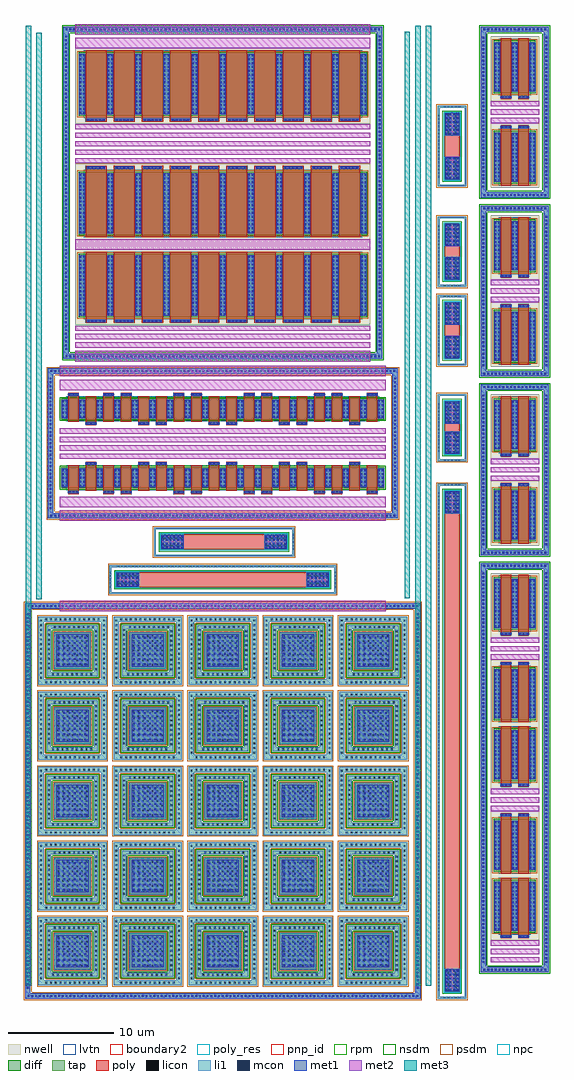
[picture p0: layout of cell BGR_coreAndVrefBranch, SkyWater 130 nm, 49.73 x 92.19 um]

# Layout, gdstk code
from math import pi, radians
import gdstk
lib = gdstk.Library(unit=1e-6, precision=5e-09)
def R(c, l, rs):  # rectangles x0, y0, x1, y1
    for r in rs: c.add(gdstk.rectangle(r[:2], r[2:], *l))
def A(c, l, x, y, w, h, nx, ny, dx, dy):  # array of equal rectangles
    R(c, l, [(x+i*dx, y+j*dy, x+i*dx+w, y+j*dy+h) for i in range(nx) for j in range(ny)])
def P(c, l, *ps):  # polygons
    for p in ps: c.add(gdstk.Polygon(p, *l))
nwell = (64, 20)
diff = (65, 20)
tap = (65, 44)
poly_res = (66, 13)
poly = (66, 20)
licon = (66, 44)
li1 = (67, 20)
mcon = (67, 44)
met1 = (68, 20)
met2 = (69, 20)
met3 = (70, 20)
pnp_id = (82, 44)
rpm = (86, 20)
nsdm = (93, 44)
psdm = (94, 20)
npc = (95, 20)
lvtn = (125, 44)
boundary2 = (236, 0)

res_poly_5 = lib.new_cell('res_poly$5')
R(res_poly_5, tap, [(-1.355,-24.31,1.355,-24.14), (-1.355,-24.14,-1.185,24.14), (1.185,-24.14,1.355,24.14), (-1.355,24.14,1.355,24.31)])
R(res_poly_5, poly_res, [(-0.705,-21.56,0.705,21.56)])
R(res_poly_5, poly, [(-0.705,-23.66,0.705,23.66)])
A(res_poly_5, licon, -0.765, -24.31, 0.17, 0.17, 5, 2, 0.34, 48.45)
A(res_poly_5, licon, -1.355, -23.545, 0.17, 0.17, 1, 139, 0, 0.34)
A(res_poly_5, licon, 1.185, -23.545, 0.17, 0.17, 1, 139, 0, 0.34)
R(res_poly_5, licon, [(-0.45,-23.58,-0.26,-21.58), (0.26,-23.58,0.45,-21.58), (-0.45,21.58,-0.26,23.58), (0.26,21.58,0.45,23.58)])
R(res_poly_5, li1, [(-1.355,-24.31,1.355,-24.14), (-1.355,-24.14,-1.185,24.14), (1.185,-24.14,1.355,24.14), (-0.705,-23.66,0.705,-21.5), (-0.705,21.5,0.705,23.66), (-1.355,24.14,1.355,24.31)])
A(res_poly_5, mcon, -0.625, -23.56, 0.17, 0.17, 4, 6, 0.36, 0.36)
A(res_poly_5, mcon, -0.625, 21.595, 0.17, 0.17, 4, 6, 0.36, 0.36)
R(res_poly_5, met1, [(-0.655,-23.63,0.655,-21.525), (-0.655,21.525,0.655,23.63)])
R(res_poly_5, rpm, [(-0.905,-23.86,0.905,23.86)])
R(res_poly_5, psdm, [(-1.48,-24.435,1.48,24.435)])
R(res_poly_5, npc, [(-0.8,-23.755,0.8,23.755)])

guard_ring_gen_4 = lib.new_cell('guard_ring_gen$4')
P(guard_ring_gen_4, tap, [(-0.5,-0.5),(-0.5,15.145),(0,15.145),(0,0),(5.44,0),(5.44,15.145),(-0.5,15.145),(-0.5,15.645),(5.94,15.645),(5.94,-0.5)])
A(guard_ring_gen_4, licon, -0.245, -0.335, 0.17, 0.17, 17, 2, 0.36, 15.645)
A(guard_ring_gen_4, licon, -0.335, 0.47, 0.17, 0.17, 1, 40, 0, 0.36)
A(guard_ring_gen_4, licon, 5.605, 0.47, 0.17, 0.17, 1, 40, 0, 0.36)
P(guard_ring_gen_4, li1, [(-0.5,-0.5),(-0.5,15.145),(0,15.145),(0,0),(5.44,0),(5.44,15.145),(-0.5,15.145),(-0.5,15.645),(5.94,15.645),(5.94,-0.5)])
A(guard_ring_gen_4, mcon, -0.245, -0.335, 0.17, 0.17, 17, 2, 0.36, 15.645)
A(guard_ring_gen_4, mcon, -0.335, 0.47, 0.17, 0.17, 1, 40, 0, 0.36)
A(guard_ring_gen_4, mcon, 5.605, 0.47, 0.17, 0.17, 1, 40, 0, 0.36)
P(guard_ring_gen_4, met1, [(-0.5,-0.5),(-0.5,15.145),(0,15.145),(0,0),(5.44,0),(5.44,15.145),(-0.5,15.145),(-0.5,15.645),(5.94,15.645),(5.94,-0.5)])
P(guard_ring_gen_4, nsdm, [(-0.625,-0.625),(-0.625,15.02),(0.125,15.02),(0.125,0.125),(5.315,0.125),(5.315,15.02),(-0.625,15.02),(-0.625,15.77),(6.065,15.77),(6.065,-0.625)])

pfet = lib.new_cell('pfet')
R(pfet, nwell, [(-0.305,-0.38,2.625,5.72)])
R(pfet, diff, [(0,0,2.32,5)])
R(pfet, poly, [(0.66,-0.2,1.66,5.2), (0.66,5.2,1.66,5.53)])
A(pfet, licon, 0.065, 0.255, 0.17, 0.17, 1, 13, 0, 0.36)
A(pfet, licon, 0.425, 0.255, 0.17, 0.17, 1, 13, 0, 0.36)
A(pfet, licon, 1.725, 0.255, 0.17, 0.17, 1, 13, 0, 0.36)
A(pfet, licon, 2.085, 0.255, 0.17, 0.17, 1, 13, 0, 0.36)
A(pfet, licon, 0.715, 5.28, 0.17, 0.17, 3, 1, 0.36, 0)
R(pfet, li1, [(0.065,0.175,0.595,4.825), (1.725,0.175,2.255,4.825), (0.635,5.28,1.685,5.45)])
A(pfet, mcon, 0.065, 0.255, 0.17, 0.17, 1, 13, 0, 0.36)
A(pfet, mcon, 0.425, 0.255, 0.17, 0.17, 1, 13, 0, 0.36)
A(pfet, mcon, 1.725, 0.255, 0.17, 0.17, 1, 13, 0, 0.36)
A(pfet, mcon, 2.085, 0.255, 0.17, 0.17, 1, 13, 0, 0.36)
A(pfet, mcon, 0.715, 5.28, 0.17, 0.17, 3, 1, 0.36, 0)
R(pfet, met1, [(0.035,0.195,0.625,4.805), (1.695,0.195,2.285,4.805), (0.655,5.25,1.665,5.48)])
R(pfet, psdm, [(-0.125,-0.125,2.445,5.125)])
R(pfet, npc, [(0.65,5.19,1.67,5.54)])
R(pfet, lvtn, [(0.48,-0.18,1.84,5.18)])

pfet_1 = lib.new_cell('pfet$1')
R(pfet_1, nwell, [(-0.305,-0.38,3.625,6.72)])
R(pfet_1, diff, [(0,0,3.32,6)])
R(pfet_1, poly, [(0.66,-0.2,2.66,6.2), (0.66,6.2,2.66,6.53)])
A(pfet_1, licon, 0.065, 0.215, 0.17, 0.17, 1, 16, 0, 0.36)
A(pfet_1, licon, 0.425, 0.215, 0.17, 0.17, 1, 16, 0, 0.36)
A(pfet_1, licon, 2.725, 0.215, 0.17, 0.17, 1, 16, 0, 0.36)
A(pfet_1, licon, 3.085, 0.215, 0.17, 0.17, 1, 16, 0, 0.36)
A(pfet_1, licon, 0.855, 6.28, 0.17, 0.17, 5, 1, 0.36, 0)
R(pfet_1, li1, [(0.065,0.135,0.595,5.865), (2.725,0.135,3.255,5.865), (0.775,6.28,2.545,6.45)])
A(pfet_1, mcon, 0.065, 0.215, 0.17, 0.17, 1, 16, 0, 0.36)
A(pfet_1, mcon, 0.425, 0.215, 0.17, 0.17, 1, 16, 0, 0.36)
A(pfet_1, mcon, 2.725, 0.215, 0.17, 0.17, 1, 16, 0, 0.36)
A(pfet_1, mcon, 3.085, 0.215, 0.17, 0.17, 1, 16, 0, 0.36)
A(pfet_1, mcon, 0.855, 6.28, 0.17, 0.17, 5, 1, 0.36, 0)
R(pfet_1, met1, [(0.035,0.155,0.625,5.845), (2.695,0.155,3.285,5.845), (0.795,6.25,2.525,6.48)])
R(pfet_1, psdm, [(-0.125,-0.125,3.445,6.125)])
R(pfet_1, npc, [(0.65,6.19,2.67,6.54)])
R(pfet_1, lvtn, [(0.48,-0.18,2.84,6.18)])

nfet = lib.new_cell('nfet')
R(nfet, diff, [(0,0,2.32,2)])
R(nfet, poly, [(0.66,-0.53,1.66,-0.2), (0.66,-0.2,1.66,2.2)])
A(nfet, licon, 0.715, -0.45, 0.17, 0.17, 3, 1, 0.36, 0)
A(nfet, licon, 0.065, 0.195, 0.17, 0.17, 1, 5, 0, 0.36)
A(nfet, licon, 0.425, 0.195, 0.17, 0.17, 1, 5, 0, 0.36)
A(nfet, licon, 1.725, 0.195, 0.17, 0.17, 1, 5, 0, 0.36)
A(nfet, licon, 2.085, 0.195, 0.17, 0.17, 1, 5, 0, 0.36)
R(nfet, li1, [(0.635,-0.45,1.685,-0.28), (0.065,0.115,0.595,1.885), (1.725,0.115,2.255,1.885)])
A(nfet, mcon, 0.715, -0.45, 0.17, 0.17, 3, 1, 0.36, 0)
A(nfet, mcon, 0.065, 0.195, 0.17, 0.17, 1, 5, 0, 0.36)
A(nfet, mcon, 0.425, 0.195, 0.17, 0.17, 1, 5, 0, 0.36)
A(nfet, mcon, 1.725, 0.195, 0.17, 0.17, 1, 5, 0, 0.36)
A(nfet, mcon, 2.085, 0.195, 0.17, 0.17, 1, 5, 0, 0.36)
R(nfet, met1, [(0.655,-0.48,1.665,-0.25), (0.035,0.135,0.625,1.865), (1.695,0.135,2.285,1.865)])
R(nfet, nsdm, [(-0.125,-0.125,2.445,2.125)])
R(nfet, npc, [(0.65,-0.54,1.67,-0.19)])
R(nfet, lvtn, [(0.48,-0.18,1.84,2.18)])

res_poly_7 = lib.new_cell('res_poly$7')
R(res_poly_7, tap, [(-1.355,-6.61,1.355,-6.44), (-1.355,-6.44,-1.185,6.44), (1.185,-6.44,1.355,6.44), (-1.355,6.44,1.355,6.61)])
R(res_poly_7, poly_res, [(-0.705,-3.86,0.705,3.86)])
R(res_poly_7, poly, [(-0.705,-5.96,0.705,5.96)])
A(res_poly_7, licon, -0.765, -6.61, 0.17, 0.17, 5, 2, 0.34, 13.05)
A(res_poly_7, licon, -1.355, -5.865, 0.17, 0.17, 1, 35, 0, 0.34)
A(res_poly_7, licon, 1.185, -5.865, 0.17, 0.17, 1, 35, 0, 0.34)
R(res_poly_7, licon, [(-0.45,-5.88,-0.26,-3.88), (0.26,-5.88,0.45,-3.88), (-0.45,3.88,-0.26,5.88), (0.26,3.88,0.45,5.88)])
R(res_poly_7, li1, [(-1.355,-6.61,1.355,-6.44), (-1.355,-6.44,-1.185,6.44), (1.185,-6.44,1.355,6.44), (-0.705,-5.96,0.705,-3.8), (-0.705,3.8,0.705,5.96), (-1.355,6.44,1.355,6.61)])
A(res_poly_7, mcon, -0.625, -5.86, 0.17, 0.17, 4, 6, 0.36, 0.36)
A(res_poly_7, mcon, -0.625, 3.895, 0.17, 0.17, 4, 6, 0.36, 0.36)
R(res_poly_7, met1, [(-0.655,-5.93,0.655,-3.825), (-0.655,3.825,0.655,5.93)])
R(res_poly_7, rpm, [(-0.905,-6.16,0.905,6.16)])
R(res_poly_7, psdm, [(-1.48,-6.735,1.48,6.735)])
R(res_poly_7, npc, [(-0.8,-6.055,0.8,6.055)])

guard_ring_gen_1 = lib.new_cell('guard_ring_gen$1')
P(guard_ring_gen_1, tap, [(-0.5,-0.5),(-0.5,30.38),(0,30.38),(0,0),(29.12,0),(29.12,30.38),(-0.5,30.38),(-0.5,30.88),(29.62,30.88),(29.62,-0.5)])
A(guard_ring_gen_1, licon, -0.285, -0.335, 0.17, 0.17, 83, 2, 0.36, 30.88)
A(guard_ring_gen_1, licon, -0.335, 0.345, 0.17, 0.17, 1, 83, 0, 0.36)
A(guard_ring_gen_1, licon, 29.285, 0.345, 0.17, 0.17, 1, 83, 0, 0.36)
P(guard_ring_gen_1, li1, [(-0.5,-0.5),(-0.5,30.38),(0,30.38),(0,0),(29.12,0),(29.12,30.38),(-0.5,30.38),(-0.5,30.88),(29.62,30.88),(29.62,-0.5)])
A(guard_ring_gen_1, mcon, -0.285, -0.335, 0.17, 0.17, 83, 2, 0.36, 30.88)
A(guard_ring_gen_1, mcon, -0.335, 0.345, 0.17, 0.17, 1, 83, 0, 0.36)
A(guard_ring_gen_1, mcon, 29.285, 0.345, 0.17, 0.17, 1, 83, 0, 0.36)
P(guard_ring_gen_1, met1, [(-0.5,-0.5),(-0.5,30.38),(0,30.38),(0,0),(29.12,0),(29.12,30.38),(-0.5,30.38),(-0.5,30.88),(29.62,30.88),(29.62,-0.5)])
P(guard_ring_gen_1, nsdm, [(-0.625,-0.625),(-0.625,30.255),(0.125,30.255),(0.125,0.125),(28.995,0.125),(28.995,30.255),(-0.625,30.255),(-0.625,31.005),(29.745,31.005),(29.745,-0.625)])

guard_ring_gen_13 = lib.new_cell('guard_ring_gen$13')
P(guard_ring_gen_13, tap, [(-0.5,-0.5),(-0.5,13.165),(0,13.165),(0,0),(32.04,0),(32.04,13.165),(-0.5,13.165),(-0.5,13.665),(32.54,13.665),(32.54,-0.5)])
A(guard_ring_gen_13, licon, -0.265, -0.335, 0.17, 0.17, 91, 2, 0.36, 13.665)
A(guard_ring_gen_13, licon, -0.335, 0.38, 0.17, 0.17, 1, 35, 0, 0.36)
A(guard_ring_gen_13, licon, 32.205, 0.38, 0.17, 0.17, 1, 35, 0, 0.36)
P(guard_ring_gen_13, li1, [(-0.5,-0.5),(-0.5,13.165),(0,13.165),(0,0),(32.04,0),(32.04,13.165),(-0.5,13.165),(-0.5,13.665),(32.54,13.665),(32.54,-0.5)])
A(guard_ring_gen_13, mcon, -0.265, -0.335, 0.17, 0.17, 91, 2, 0.36, 13.665)
A(guard_ring_gen_13, mcon, -0.335, 0.38, 0.17, 0.17, 1, 35, 0, 0.36)
A(guard_ring_gen_13, mcon, 32.205, 0.38, 0.17, 0.17, 1, 35, 0, 0.36)
P(guard_ring_gen_13, met1, [(-0.5,-0.5),(-0.5,13.165),(0,13.165),(0,0),(32.04,0),(32.04,13.165),(-0.5,13.165),(-0.5,13.665),(32.54,13.665),(32.54,-0.5)])
P(guard_ring_gen_13, psdm, [(-0.625,-0.625),(-0.625,13.04),(0.125,13.04),(0.125,0.125),(31.915,0.125),(31.915,13.04),(-0.625,13.04),(-0.625,13.79),(32.665,13.79),(32.665,-0.625)])

pnp_bjt = lib.new_cell('pnp_bjt')
R(pnp_bjt, nwell, [(0.765,0.765,5.935,5.935)])
R(pnp_bjt, diff, [(1.65,1.65,5.05,5.05)])
P(pnp_bjt, tap, [(0.945,0.945),(0.945,5.755),(5.395,5.755),(5.395,5.395),(1.305,5.395),(1.305,1.305),(5.395,1.305),(5.395,5.755),(5.755,5.755),(5.755,0.945)],
  [(0.13,0.13),(0.13,6.57),(6.065,6.57),(6.065,6.065),(0.635,6.065),(0.635,0.635),(6.065,0.635),(6.065,6.57),(6.57,6.57),(6.57,0.13)])
A(pnp_bjt, licon, 0.78, 0.29, 0.17, 0.17, 12, 2, 0.45, 5.935)
A(pnp_bjt, licon, 0.3, 0.71, 0.17, 0.17, 1, 13, 0, 0.45)
A(pnp_bjt, licon, 6.235, 0.71, 0.17, 0.17, 1, 13, 0, 0.45)
A(pnp_bjt, licon, 1.43, 1.04, 0.17, 0.17, 9, 1, 0.45, 0)
A(pnp_bjt, licon, 5.49, 1.51, 0.17, 0.17, 1, 9, 0, 0.45)
A(pnp_bjt, licon, 1.04, 1.605, 0.17, 0.17, 1, 9, 0, 0.45)
A(pnp_bjt, licon, 1.92, 1.92, 0.17, 0.17, 7, 7, 0.45, 0.45)
A(pnp_bjt, licon, 1.6, 5.49, 0.17, 0.17, 9, 1, 0.45, 0)
A(pnp_bjt, li1, 0.58, 0.21, 0.33, 0.33, 12, 1, 0.45, 0)
A(pnp_bjt, li1, 0.675, 0.24, 0.27, 0.27, 11, 2, 0.5, 5.96)
A(pnp_bjt, li1, 6.16, 0.54, 0.33, 0.33, 1, 13, 0, 0.45)
A(pnp_bjt, li1, 0.22, 0.63, 0.33, 0.33, 1, 13, 0, 0.45)
A(pnp_bjt, li1, 1.35, 0.96, 0.33, 0.33, 9, 1, 0.45, 0)
A(pnp_bjt, li1, 1.14, 0.985, 0.27, 0.27, 9, 1, 0.5, 0)
A(pnp_bjt, li1, 5.41, 1.43, 0.33, 0.33, 1, 9, 0, 0.45)
A(pnp_bjt, li1, 0.96, 1.525, 0.33, 0.33, 1, 9, 0, 0.45)
A(pnp_bjt, li1, 1.84, 1.84, 0.33, 0.33, 7, 7, 0.45, 0.45)
A(pnp_bjt, li1, 1.93, 1.93, 0.27, 0.27, 6, 6, 0.5, 0.5)
A(pnp_bjt, li1, 1.52, 5.41, 0.33, 0.33, 9, 1, 0.45, 0)
A(pnp_bjt, li1, 1.155, 5.44, 0.27, 0.27, 9, 1, 0.5, 0)
A(pnp_bjt, li1, 0.7, 6.165, 0.33, 0.33, 12, 1, 0.45, 0)
R(pnp_bjt, li1, [(1.615,1.615,5.085,5.085), (1.65,1.65,5.05,5.05)])
P(pnp_bjt, li1, [(0.13,0.13),(0.13,6.57),(6.075,6.57),(6.075,6.075),(0.625,6.075),(0.625,0.625),(6.075,0.625),(6.075,6.57),(6.57,6.57),(6.57,0.13)],
  [(0.945,0.945),(0.945,5.755),(5.395,5.755),(5.395,5.395),(1.305,5.395),(1.305,1.305),(5.395,1.305),(5.395,5.755),(5.755,5.755),(5.755,0.945)])
A(pnp_bjt, mcon, 1.98, 1.98, 0.17, 0.17, 6, 6, 0.5, 0.5)
A(pnp_bjt, met1, 1.93, 1.93, 0.27, 0.27, 6, 6, 0.5, 0.5)
R(pnp_bjt, met1, [(1.825,1.825,4.875,4.875)])
R(pnp_bjt, pnp_id, [(0.135,0.135,6.565,6.565)])
P(pnp_bjt, nsdm, [(0.805,0.805),(0.805,5.895),(5.265,5.895),(5.265,5.265),(1.435,5.265),(1.435,1.435),(5.265,1.435),(5.265,5.895),(5.895,5.895),(5.895,0.805)])
R(pnp_bjt, psdm, [(1.52,1.52,5.18,5.18)])
P(pnp_bjt, psdm, [(0,0),(0,6.7),(5.935,6.7),(5.935,5.935),(0.765,5.935),(0.765,0.765),(5.935,0.765),(5.935,6.7),(6.7,6.7),(6.7,0)])
R(pnp_bjt, boundary2, [(0.13,0.13,6.57,6.57)])
pnp_bjt.add(gdstk.Label('Emitter', (3.39,3.39), layer=67, texttype=5))
pnp_bjt.add(gdstk.Label('Collector', (3.32,6.38), layer=67, texttype=5))
pnp_bjt.add(gdstk.Label('Base', (3.245,5.61), layer=67, texttype=5))

res_poly_13 = lib.new_cell('res_poly$13')
R(res_poly_13, tap, [(-1.355,-10.71,1.355,-10.54), (-1.355,-10.54,-1.185,10.54), (1.185,-10.54,1.355,10.54), (-1.355,10.54,1.355,10.71)])
R(res_poly_13, poly_res, [(-0.705,-7.96,0.705,7.96)])
R(res_poly_13, poly, [(-0.705,-10.06,0.705,10.06)])
A(res_poly_13, licon, -0.765, -10.71, 0.17, 0.17, 5, 2, 0.34, 21.25)
A(res_poly_13, licon, -1.355, -9.945, 0.17, 0.17, 1, 59, 0, 0.34)
A(res_poly_13, licon, 1.185, -9.945, 0.17, 0.17, 1, 59, 0, 0.34)
R(res_poly_13, licon, [(-0.45,-9.98,-0.26,-7.98), (0.26,-9.98,0.45,-7.98), (-0.45,7.98,-0.26,9.98), (0.26,7.98,0.45,9.98)])
R(res_poly_13, li1, [(-1.355,-10.71,1.355,-10.54), (-1.355,-10.54,-1.185,10.54), (1.185,-10.54,1.355,10.54), (-0.705,-10.06,0.705,-7.9), (-0.705,7.9,0.705,10.06), (-1.355,10.54,1.355,10.71)])
A(res_poly_13, mcon, -0.625, -9.96, 0.17, 0.17, 4, 6, 0.36, 0.36)
A(res_poly_13, mcon, -0.625, 7.995, 0.17, 0.17, 4, 6, 0.36, 0.36)
R(res_poly_13, met1, [(-0.655,-10.03,0.655,-7.925), (-0.655,7.925,0.655,10.03)])
R(res_poly_13, rpm, [(-0.905,-10.26,0.905,10.26)])
R(res_poly_13, psdm, [(-1.48,-10.835,1.48,10.835)])
R(res_poly_13, npc, [(-0.8,-10.155,0.8,10.155)])

guard_ring_gen = lib.new_cell('guard_ring_gen')
P(guard_ring_gen, tap, [(-0.5,-0.5),(-0.5,36.35),(0,36.35),(0,0),(36.35,0),(36.35,36.35),(-0.5,36.35),(-0.5,36.85),(36.85,36.85),(36.85,-0.5)])
A(guard_ring_gen, licon, -0.27, -0.335, 0.17, 0.17, 103, 2, 0.36, 36.85)
A(guard_ring_gen, licon, -0.335, 0.45, 0.17, 0.17, 1, 99, 0, 0.36)
A(guard_ring_gen, licon, 36.515, 0.45, 0.17, 0.17, 1, 99, 0, 0.36)
P(guard_ring_gen, li1, [(-0.5,-0.5),(-0.5,36.35),(0,36.35),(0,0),(36.35,0),(36.35,36.35),(-0.5,36.35),(-0.5,36.85),(36.85,36.85),(36.85,-0.5)])
A(guard_ring_gen, mcon, -0.27, -0.335, 0.17, 0.17, 103, 2, 0.36, 36.85)
A(guard_ring_gen, mcon, -0.335, 0.45, 0.17, 0.17, 1, 99, 0, 0.36)
A(guard_ring_gen, mcon, 36.515, 0.45, 0.17, 0.17, 1, 99, 0, 0.36)
P(guard_ring_gen, met1, [(-0.5,-0.5),(-0.5,36.35),(0,36.35),(0,0),(36.35,0),(36.35,36.35),(-0.5,36.35),(-0.5,36.85),(36.85,36.85),(36.85,-0.5)])
P(guard_ring_gen, psdm, [(-0.625,-0.625),(-0.625,36.225),(0.125,36.225),(0.125,0.125),(36.225,0.125),(36.225,36.225),(-0.625,36.225),(-0.625,36.975),(36.975,36.975),(36.975,-0.625)])

res_poly_3 = lib.new_cell('res_poly$3')
R(res_poly_3, tap, [(-1.355,-3.81,1.355,-3.64), (-1.355,-3.64,-1.185,3.64), (1.185,-3.64,1.355,3.64), (-1.355,3.64,1.355,3.81)])
R(res_poly_3, poly_res, [(-0.705,-1.06,0.705,1.06)])
R(res_poly_3, poly, [(-0.705,-3.16,0.705,3.16)])
A(res_poly_3, licon, -0.765, -3.81, 0.17, 0.17, 5, 2, 0.34, 7.45)
A(res_poly_3, licon, -1.355, -2.975, 0.17, 0.17, 1, 18, 0, 0.34)
A(res_poly_3, licon, 1.185, -2.975, 0.17, 0.17, 1, 18, 0, 0.34)
R(res_poly_3, licon, [(-0.45,-3.08,-0.26,-1.08), (0.26,-3.08,0.45,-1.08), (-0.45,1.08,-0.26,3.08), (0.26,1.08,0.45,3.08)])
R(res_poly_3, li1, [(-1.355,-3.81,1.355,-3.64), (-1.355,-3.64,-1.185,3.64), (1.185,-3.64,1.355,3.64), (-0.705,-3.16,0.705,-1), (-0.705,1,0.705,3.16), (-1.355,3.64,1.355,3.81)])
A(res_poly_3, mcon, -0.625, -3.06, 0.17, 0.17, 4, 6, 0.36, 0.36)
A(res_poly_3, mcon, -0.625, 1.095, 0.17, 0.17, 4, 6, 0.36, 0.36)
R(res_poly_3, met1, [(-0.655,-3.13,0.655,-1.025), (-0.655,1.025,0.655,3.13)])
R(res_poly_3, rpm, [(-0.905,-3.36,0.905,3.36)])
R(res_poly_3, psdm, [(-1.48,-3.935,1.48,3.935)])
R(res_poly_3, npc, [(-0.8,-3.255,0.8,3.255)])

res_poly_4 = lib.new_cell('res_poly$4')
R(res_poly_4, tap, [(-1.355,-3.16,1.355,-2.99), (-1.355,-2.99,-1.185,2.99), (1.185,-2.99,1.355,2.99), (-1.355,2.99,1.355,3.16)])
R(res_poly_4, poly_res, [(-0.705,-0.41,0.705,0.41)])
R(res_poly_4, poly, [(-0.705,-2.51,0.705,2.51)])
A(res_poly_4, licon, -0.765, -3.16, 0.17, 0.17, 5, 2, 0.34, 6.15)
A(res_poly_4, licon, -1.355, -2.295, 0.17, 0.17, 1, 14, 0, 0.34)
A(res_poly_4, licon, 1.185, -2.295, 0.17, 0.17, 1, 14, 0, 0.34)
R(res_poly_4, licon, [(-0.45,-2.43,-0.26,-0.43), (0.26,-2.43,0.45,-0.43), (-0.45,0.43,-0.26,2.43), (0.26,0.43,0.45,2.43)])
R(res_poly_4, li1, [(-1.355,-3.16,1.355,-2.99), (-1.355,-2.99,-1.185,2.99), (1.185,-2.99,1.355,2.99), (-0.705,-2.51,0.705,-0.35), (-0.705,0.35,0.705,2.51), (-1.355,2.99,1.355,3.16)])
A(res_poly_4, mcon, -0.625, -2.41, 0.17, 0.17, 4, 6, 0.36, 0.36)
A(res_poly_4, mcon, -0.625, 0.445, 0.17, 0.17, 4, 6, 0.36, 0.36)
R(res_poly_4, met1, [(-0.655,-2.48,0.655,-0.375), (-0.655,0.375,0.655,2.48)])
R(res_poly_4, rpm, [(-0.905,-2.71,0.905,2.71)])
R(res_poly_4, psdm, [(-1.48,-3.285,1.48,3.285)])
R(res_poly_4, npc, [(-0.8,-2.605,0.8,2.605)])

nfet_3 = lib.new_cell('nfet$3')
R(nfet_3, diff, [(0,0,2.32,2)])
R(nfet_3, poly, [(0.66,-0.2,1.66,2.2), (0.66,2.2,1.66,2.53)])
A(nfet_3, licon, 0.065, 0.195, 0.17, 0.17, 1, 5, 0, 0.36)
A(nfet_3, licon, 0.425, 0.195, 0.17, 0.17, 1, 5, 0, 0.36)
A(nfet_3, licon, 1.725, 0.195, 0.17, 0.17, 1, 5, 0, 0.36)
A(nfet_3, licon, 2.085, 0.195, 0.17, 0.17, 1, 5, 0, 0.36)
A(nfet_3, licon, 0.715, 2.28, 0.17, 0.17, 3, 1, 0.36, 0)
R(nfet_3, li1, [(0.065,0.115,0.595,1.885), (1.725,0.115,2.255,1.885), (0.635,2.28,1.685,2.45)])
A(nfet_3, mcon, 0.065, 0.195, 0.17, 0.17, 1, 5, 0, 0.36)
A(nfet_3, mcon, 0.425, 0.195, 0.17, 0.17, 1, 5, 0, 0.36)
A(nfet_3, mcon, 1.725, 0.195, 0.17, 0.17, 1, 5, 0, 0.36)
A(nfet_3, mcon, 2.085, 0.195, 0.17, 0.17, 1, 5, 0, 0.36)
A(nfet_3, mcon, 0.715, 2.28, 0.17, 0.17, 3, 1, 0.36, 0)
R(nfet_3, met1, [(0.035,0.135,0.625,1.865), (1.695,0.135,2.285,1.865), (0.655,2.25,1.665,2.48)])
R(nfet_3, nsdm, [(-0.125,-0.125,2.445,2.125)])
R(nfet_3, npc, [(0.65,2.19,1.67,2.54)])
R(nfet_3, lvtn, [(0.48,-0.18,1.84,2.18)])

res_poly = lib.new_cell('res_poly')
R(res_poly, tap, [(-1.355,-3.31,1.355,-3.14), (-1.355,-3.14,-1.185,3.14), (1.185,-3.14,1.355,3.14), (-1.355,3.14,1.355,3.31)])
R(res_poly, poly_res, [(-0.705,-0.56,0.705,0.56)])
R(res_poly, poly, [(-0.705,-2.66,0.705,2.66)])
A(res_poly, licon, -0.765, -3.31, 0.17, 0.17, 5, 2, 0.34, 6.45)
A(res_poly, licon, -1.355, -2.465, 0.17, 0.17, 1, 15, 0, 0.34)
A(res_poly, licon, 1.185, -2.465, 0.17, 0.17, 1, 15, 0, 0.34)
R(res_poly, licon, [(-0.45,-2.58,-0.26,-0.58), (0.26,-2.58,0.45,-0.58), (-0.45,0.58,-0.26,2.58), (0.26,0.58,0.45,2.58)])
R(res_poly, li1, [(-1.355,-3.31,1.355,-3.14), (-1.355,-3.14,-1.185,3.14), (1.185,-3.14,1.355,3.14), (-0.705,-2.66,0.705,-0.5), (-0.705,0.5,0.705,2.66), (-1.355,3.14,1.355,3.31)])
A(res_poly, mcon, -0.625, -2.56, 0.17, 0.17, 4, 6, 0.36, 0.36)
A(res_poly, mcon, -0.625, 0.595, 0.17, 0.17, 4, 6, 0.36, 0.36)
R(res_poly, met1, [(-0.655,-2.63,0.655,-0.525), (-0.655,0.525,0.655,2.63)])
R(res_poly, rpm, [(-0.905,-2.86,0.905,2.86)])
R(res_poly, psdm, [(-1.48,-3.435,1.48,3.435)])
R(res_poly, npc, [(-0.8,-2.755,0.8,2.755)])

guard_ring_gen_5 = lib.new_cell('guard_ring_gen$5')
P(guard_ring_gen_5, tap, [(-0.5,-0.5),(-0.5,37.635),(0,37.635),(0,0),(5.44,0),(5.44,37.635),(-0.5,37.635),(-0.5,38.135),(5.94,38.135),(5.94,-0.5)])
A(guard_ring_gen_5, licon, -0.245, -0.335, 0.17, 0.17, 17, 2, 0.36, 38.135)
A(guard_ring_gen_5, licon, -0.335, 0.375, 0.17, 0.17, 1, 103, 0, 0.36)
A(guard_ring_gen_5, licon, 5.605, 0.375, 0.17, 0.17, 1, 103, 0, 0.36)
P(guard_ring_gen_5, li1, [(-0.5,-0.5),(-0.5,37.635),(0,37.635),(0,0),(5.44,0),(5.44,37.635),(-0.5,37.635),(-0.5,38.135),(5.94,38.135),(5.94,-0.5)])
A(guard_ring_gen_5, mcon, -0.245, -0.335, 0.17, 0.17, 17, 2, 0.36, 38.135)
A(guard_ring_gen_5, mcon, -0.335, 0.375, 0.17, 0.17, 1, 103, 0, 0.36)
A(guard_ring_gen_5, mcon, 5.605, 0.375, 0.17, 0.17, 1, 103, 0, 0.36)
P(guard_ring_gen_5, met1, [(-0.5,-0.5),(-0.5,37.635),(0,37.635),(0,0),(5.44,0),(5.44,37.635),(-0.5,37.635),(-0.5,38.135),(5.94,38.135),(5.94,-0.5)])
P(guard_ring_gen_5, nsdm, [(-0.625,-0.625),(-0.625,37.51),(0.125,37.51),(0.125,0.125),(5.315,0.125),(5.315,37.51),(-0.625,37.51),(-0.625,38.26),(6.065,38.26),(6.065,-0.625)])

bgr_coreandvrefbranch = lib.new_cell('BGR_coreAndVrefBranch')
R(bgr_coreandvrefbranch, nwell, [(67.635,181.045,95.505,196.245)])
R(bgr_coreandvrefbranch, lvtn, [(107.64,123.455,110.66,128.815), (107.64,129.215,110.66,134.575), (107.64,137.75,110.66,143.11), (107.64,143.51,110.66,148.87), (107.64,152.045,110.66,157.405), (107.64,160.405,110.66,165.765), (66.78,165.42,96.36,167.78), (107.64,168.94,110.66,174.3), (66.78,171.925,96.36,174.285), (107.64,177.3,110.66,182.66), (68.42,181.585,94.72,187.945), (107.64,185.835,110.66,191.195), (68.42,189.345,94.72,195.705), (107.64,194.195,110.66,199.555), (68.42,200.605,94.72,206.965), (107.64,202.73,110.66,208.09)])
bgr_coreandvrefbranch.add(gdstk.FlexPath([(106.855,121.87),(111.445,121.87)], 0.5, ends="flush", simple_path=True, layer=69, datatype=20))  # met2
bgr_coreandvrefbranch.add(gdstk.FlexPath([(106.855,121.07),(111.445,121.07)], 0.5, ends="flush", simple_path=True, layer=69, datatype=20))  # met2
bgr_coreandvrefbranch.add(gdstk.FlexPath([(106.855,122.665),(111.445,122.665)], 0.5, ends="flush", simple_path=True, layer=69, datatype=20))  # met2
bgr_coreandvrefbranch.add(gdstk.FlexPath([(106.855,136.165),(111.445,136.165)], 0.5, ends="flush", simple_path=True, layer=69, datatype=20))  # met2
bgr_coreandvrefbranch.add(gdstk.FlexPath([(106.855,135.365),(111.445,135.365)], 0.5, ends="flush", simple_path=True, layer=69, datatype=20))  # met2
bgr_coreandvrefbranch.add(gdstk.FlexPath([(106.855,136.96),(111.445,136.96)], 0.5, ends="flush", simple_path=True, layer=69, datatype=20))  # met2
bgr_coreandvrefbranch.add(gdstk.FlexPath([(106.855,150.46),(111.445,150.46)], 0.5, ends="flush", simple_path=True, layer=69, datatype=20))  # met2
bgr_coreandvrefbranch.add(gdstk.FlexPath([(106.855,149.66),(111.445,149.66)], 0.5, ends="flush", simple_path=True, layer=69, datatype=20))  # met2
bgr_coreandvrefbranch.add(gdstk.FlexPath([(106.855,151.255),(111.445,151.255)], 0.5, ends="flush", simple_path=True, layer=69, datatype=20))  # met2
bgr_coreandvrefbranch.add(gdstk.FlexPath([(106.855,167.355),(111.445,167.355)], 0.5, ends="flush", simple_path=True, layer=69, datatype=20))  # met2
bgr_coreandvrefbranch.add(gdstk.FlexPath([(106.855,166.555),(111.445,166.555)], 0.5, ends="flush", simple_path=True, layer=69, datatype=20))  # met2
bgr_coreandvrefbranch.add(gdstk.FlexPath([(106.855,168.15),(111.445,168.15)], 0.5, ends="flush", simple_path=True, layer=69, datatype=20))  # met2
bgr_coreandvrefbranch.add(gdstk.FlexPath([(106.855,201.145),(111.445,201.145)], 0.5, ends="flush", simple_path=True, layer=69, datatype=20))  # met2
bgr_coreandvrefbranch.add(gdstk.FlexPath([(106.855,200.345),(111.445,200.345)], 0.5, ends="flush", simple_path=True, layer=69, datatype=20))  # met2
bgr_coreandvrefbranch.add(gdstk.FlexPath([(106.855,201.94),(111.445,201.94)], 0.5, ends="flush", simple_path=True, layer=69, datatype=20))  # met2
bgr_coreandvrefbranch.add(gdstk.FlexPath([(106.855,184.25),(111.445,184.25)], 0.5, ends="flush", simple_path=True, layer=69, datatype=20))  # met2
bgr_coreandvrefbranch.add(gdstk.FlexPath([(106.855,183.45),(111.445,183.45)], 0.5, ends="flush", simple_path=True, layer=69, datatype=20))  # met2
bgr_coreandvrefbranch.add(gdstk.FlexPath([(106.855,185.045),(111.445,185.045)], 0.5, ends="flush", simple_path=True, layer=69, datatype=20))  # met2
bgr_coreandvrefbranch.add(gdstk.FlexPath([(95.505,208.965),(67.635,208.965)], 1, ends="flush", simple_path=True, layer=69, datatype=20))  # met2
bgr_coreandvrefbranch.add(gdstk.FlexPath([(95.505,178.085),(67.635,178.085)], 1, ends="flush", simple_path=True, layer=69, datatype=20))  # met2
bgr_coreandvrefbranch.add(gdstk.FlexPath([(95.505,179.935),(67.635,179.935)], 0.5, ends="flush", simple_path=True, layer=69, datatype=20))  # met2
bgr_coreandvrefbranch.add(gdstk.FlexPath([(95.505,180.735),(67.635,180.735)], 0.5, ends="flush", simple_path=True, layer=69, datatype=20))  # met2
bgr_coreandvrefbranch.add(gdstk.FlexPath([(95.505,179.135),(67.635,179.135)], 0.5, ends="flush", simple_path=True, layer=69, datatype=20))  # met2
bgr_coreandvrefbranch.add(gdstk.FlexPath([(95.505,188.645),(67.635,188.645)], 1, ends="flush", simple_path=True, layer=69, datatype=20))  # met2
bgr_coreandvrefbranch.add(gdstk.FlexPath([(95.505,197.355),(67.635,197.355)], 0.5, ends="flush", simple_path=True, layer=69, datatype=20))  # met2
bgr_coreandvrefbranch.add(gdstk.FlexPath([(95.505,198.155),(67.635,198.155)], 0.5, ends="flush", simple_path=True, layer=69, datatype=20))  # met2
bgr_coreandvrefbranch.add(gdstk.FlexPath([(95.505,199.755),(67.635,199.755)], 0.5, ends="flush", simple_path=True, layer=69, datatype=20))  # met2
bgr_coreandvrefbranch.add(gdstk.FlexPath([(95.505,198.955),(67.635,198.955)], 0.5, ends="flush", simple_path=True, layer=69, datatype=20))  # met2
bgr_coreandvrefbranch.add(gdstk.FlexPath([(95.505,196.555),(67.635,196.555)], 0.5, ends="flush", simple_path=True, layer=69, datatype=20))  # met2
bgr_coreandvrefbranch.add(gdstk.FlexPath([(96.955,175.385),(66.175,175.385)], 1, ends="flush", simple_path=True, layer=69, datatype=20))  # met2
bgr_coreandvrefbranch.add(gdstk.FlexPath([(96.965,171.025),(66.175,171.025)], 0.5, ends="flush", simple_path=True, layer=69, datatype=20))  # met2
bgr_coreandvrefbranch.add(gdstk.FlexPath([(96.965,170.225),(66.165,170.225)], 0.5, ends="flush", simple_path=True, layer=69, datatype=20))  # met2
bgr_coreandvrefbranch.add(gdstk.FlexPath([(96.965,169.425),(66.165,169.425)], 0.5, ends="flush", simple_path=True, layer=69, datatype=20))  # met2
bgr_coreandvrefbranch.add(gdstk.FlexPath([(96.975,168.63),(66.165,168.63)], 0.5, ends="flush", simple_path=True, layer=69, datatype=20))  # met2
bgr_coreandvrefbranch.add(gdstk.FlexPath([(96.965,164.32),(66.175,164.32)], 1, ends="flush", simple_path=True, layer=69, datatype=20))  # met2
bgr_coreandvrefbranch.add(gdstk.FlexPath([(96.955,176.685),(66.175,176.685)], 1, ends="flush", simple_path=True, layer=69, datatype=20))  # met2
bgr_coreandvrefbranch.add(gdstk.FlexPath([(96.965,163.02),(66.175,163.02)], 1, ends="flush", simple_path=True, layer=69, datatype=20))  # met2
bgr_coreandvrefbranch.add(gdstk.FlexPath([(95.505,207.665),(67.635,207.665)], 1, ends="flush", simple_path=True, layer=69, datatype=20))  # met2
bgr_coreandvrefbranch.add(gdstk.FlexPath([(96.965,154.5),(66.175,154.5)], 1, ends="flush", simple_path=True, layer=69, datatype=20))  # met2
bgr_coreandvrefbranch.add(gdstk.FlexPath([(100.995,209.3),(100.995,118.62)], 0.5, ends="flush", simple_path=True, layer=70, datatype=20))  # met3
bgr_coreandvrefbranch.add(gdstk.FlexPath([(63.21,209.3),(63.21,118.62)], 0.5, ends="flush", simple_path=True, layer=70, datatype=20))  # met3
bgr_coreandvrefbranch.add(gdstk.FlexPath([(64.21,208.63),(64.21,155.135)], 0.5, ends="flush", simple_path=True, layer=70, datatype=20))  # met3
bgr_coreandvrefbranch.add(gdstk.FlexPath([(98.995,208.72),(98.995,155.225)], 0.5, ends="flush", simple_path=True, layer=70, datatype=20))  # met3
bgr_coreandvrefbranch.add(gdstk.FlexPath([(99.995,209.3),(99.995,118.62)], 0.5, ends="flush", simple_path=True, layer=70, datatype=20))  # met3
bgr_coreandvrefbranch.add(gdstk.Reference(res_poly_5, (103.225,141.71), x_reflection=True))
bgr_coreandvrefbranch.add(gdstk.Reference(guard_ring_gen_4, (106.43,159.78)))
bgr_coreandvrefbranch.add(gdstk.Reference(pfet, (109.48,160.585), rotation=pi, x_reflection=True))
bgr_coreandvrefbranch.add(gdstk.Reference(pfet, (111.14,160.585), rotation=pi, x_reflection=True))
bgr_coreandvrefbranch.add(gdstk.Reference(pfet_1, (86.56,187.765), x_reflection=True))
bgr_coreandvrefbranch.add(gdstk.Reference(pfet_1, (86.56,189.525)))
bgr_coreandvrefbranch.add(gdstk.Reference(nfet, (86.22,172.105)))
bgr_coreandvrefbranch.add(gdstk.Reference(pfet_1, (86.56,206.785), x_reflection=True))
bgr_coreandvrefbranch.add(gdstk.Reference(nfet, (86.22,167.6), x_reflection=True))
bgr_coreandvrefbranch.add(gdstk.Reference(res_poly_7, (81.69,160.54), rotation=pi/2))
bgr_coreandvrefbranch.add(gdstk.Reference(guard_ring_gen_1, (67.01,178.335)))
bgr_coreandvrefbranch.add(gdstk.Reference(guard_ring_gen_13, (65.55,163.27)))
bgr_coreandvrefbranch.add(gdstk.Reference(pnp_bjt, (85.32,118.525)))
bgr_coreandvrefbranch.add(gdstk.Reference(pnp_bjt, (85.32,139.825)))
bgr_coreandvrefbranch.add(gdstk.Reference(pnp_bjt, (85.32,125.625)))
bgr_coreandvrefbranch.add(gdstk.Reference(pnp_bjt, (85.32,132.725)))
bgr_coreandvrefbranch.add(gdstk.Reference(pnp_bjt, (85.32,146.925)))
bgr_coreandvrefbranch.add(gdstk.Reference(res_poly_13, (81.56,156.98), rotation=pi/2))
bgr_coreandvrefbranch.add(gdstk.Reference(guard_ring_gen, (63.395,117.9)))
bgr_coreandvrefbranch.add(gdstk.Reference(res_poly_3, (103.225,197.93)))
bgr_coreandvrefbranch.add(gdstk.Reference(pfet_1, (91.88,189.525)))
bgr_coreandvrefbranch.add(gdstk.Reference(pfet_1, (89.22,189.525)))
bgr_coreandvrefbranch.add(gdstk.Reference(nfet, (87.88,172.105)))
bgr_coreandvrefbranch.add(gdstk.Reference(res_poly_4, (103.225,171.34)))
bgr_coreandvrefbranch.add(gdstk.Reference(pfet_1, (91.88,206.785), x_reflection=True))
bgr_coreandvrefbranch.add(gdstk.Reference(pfet_1, (89.22,206.785), x_reflection=True))
bgr_coreandvrefbranch.add(gdstk.Reference(nfet_3, (89.54,172.105)))
bgr_coreandvrefbranch.add(gdstk.Reference(res_poly, (103.225,180.535)))
bgr_coreandvrefbranch.add(gdstk.Reference(nfet_3, (89.54,167.6), x_reflection=True))
bgr_coreandvrefbranch.add(gdstk.Reference(nfet, (87.88,167.6), x_reflection=True))
bgr_coreandvrefbranch.add(gdstk.Reference(nfet, (92.86,172.105)))
bgr_coreandvrefbranch.add(gdstk.Reference(nfet_3, (94.52,172.105)))
bgr_coreandvrefbranch.add(gdstk.Reference(nfet_3, (91.2,172.105)))
bgr_coreandvrefbranch.add(gdstk.Reference(pfet, (109.48,174.12), rotation=pi))
bgr_coreandvrefbranch.add(gdstk.Reference(nfet, (92.86,167.6), x_reflection=True))
bgr_coreandvrefbranch.add(gdstk.Reference(pfet, (111.14,174.12), rotation=pi))
bgr_coreandvrefbranch.add(gdstk.Reference(nfet_3, (94.52,167.6), x_reflection=True))
bgr_coreandvrefbranch.add(gdstk.Reference(nfet_3, (91.2,167.6), x_reflection=True))
bgr_coreandvrefbranch.add(gdstk.Reference(pfet, (109.48,191.015), rotation=pi))
bgr_coreandvrefbranch.add(gdstk.Reference(guard_ring_gen_4, (106.43,176.675)))
bgr_coreandvrefbranch.add(gdstk.Reference(pfet, (111.14,191.015), rotation=pi))
bgr_coreandvrefbranch.add(gdstk.Reference(pfet, (109.48,177.48), rotation=pi, x_reflection=True))
bgr_coreandvrefbranch.add(gdstk.Reference(pfet, (111.14,177.48), rotation=pi, x_reflection=True))
bgr_coreandvrefbranch.add(gdstk.Reference(pfet, (109.48,207.91), rotation=pi))
bgr_coreandvrefbranch.add(gdstk.Reference(guard_ring_gen_4, (106.43,193.57)))
bgr_coreandvrefbranch.add(gdstk.Reference(pfet, (111.14,207.91), rotation=pi))
bgr_coreandvrefbranch.add(gdstk.Reference(pfet, (109.48,194.375), rotation=pi, x_reflection=True))
bgr_coreandvrefbranch.add(gdstk.Reference(pfet, (111.14,194.375), rotation=pi, x_reflection=True))
bgr_coreandvrefbranch.add(gdstk.Reference(pfet_1, (91.88,187.765), x_reflection=True))
bgr_coreandvrefbranch.add(gdstk.Reference(pfet_1, (89.22,187.765), x_reflection=True))
bgr_coreandvrefbranch.add(gdstk.Reference(res_poly, (103.225,187.96)))
bgr_coreandvrefbranch.add(gdstk.Reference(nfet, (74.6,172.105)))
bgr_coreandvrefbranch.add(gdstk.Reference(nfet_3, (76.26,172.105)))
bgr_coreandvrefbranch.add(gdstk.Reference(nfet_3, (77.92,172.105)))
bgr_coreandvrefbranch.add(gdstk.Reference(nfet, (79.58,172.105)))
bgr_coreandvrefbranch.add(gdstk.Reference(nfet, (81.24,172.105)))
bgr_coreandvrefbranch.add(gdstk.Reference(nfet_3, (82.9,172.105)))
bgr_coreandvrefbranch.add(gdstk.Reference(nfet_3, (84.56,172.105)))
bgr_coreandvrefbranch.add(gdstk.Reference(nfet, (67.96,167.6), x_reflection=True))
bgr_coreandvrefbranch.add(gdstk.Reference(pfet_1, (75.92,206.785), x_reflection=True))
bgr_coreandvrefbranch.add(gdstk.Reference(nfet_3, (76.26,167.6), x_reflection=True))
bgr_coreandvrefbranch.add(gdstk.Reference(nfet_3, (77.92,167.6), x_reflection=True))
bgr_coreandvrefbranch.add(gdstk.Reference(nfet, (79.58,167.6), x_reflection=True))
bgr_coreandvrefbranch.add(gdstk.Reference(pfet_1, (67.94,187.765), x_reflection=True))
bgr_coreandvrefbranch.add(gdstk.Reference(nfet, (81.24,167.6), x_reflection=True))
bgr_coreandvrefbranch.add(gdstk.Reference(pfet_1, (83.9,187.765), x_reflection=True))
bgr_coreandvrefbranch.add(gdstk.Reference(pfet_1, (81.24,187.765), x_reflection=True))
bgr_coreandvrefbranch.add(gdstk.Reference(pfet_1, (78.58,187.765), x_reflection=True))
bgr_coreandvrefbranch.add(gdstk.Reference(pfet_1, (75.92,187.765), x_reflection=True))
bgr_coreandvrefbranch.add(gdstk.Reference(pfet_1, (73.26,187.765), x_reflection=True))
bgr_coreandvrefbranch.add(gdstk.Reference(pfet_1, (70.6,187.765), x_reflection=True))
bgr_coreandvrefbranch.add(gdstk.Reference(pfet_1, (83.9,206.785), x_reflection=True))
bgr_coreandvrefbranch.add(gdstk.Reference(pfet_1, (81.24,206.785), x_reflection=True))
bgr_coreandvrefbranch.add(gdstk.Reference(pfet_1, (78.58,206.785), x_reflection=True))
bgr_coreandvrefbranch.add(gdstk.Reference(pfet_1, (67.94,189.525)))
bgr_coreandvrefbranch.add(gdstk.Reference(nfet_3, (82.9,167.6), x_reflection=True))
bgr_coreandvrefbranch.add(gdstk.Reference(pfet_1, (83.9,189.525)))
bgr_coreandvrefbranch.add(gdstk.Reference(pfet_1, (81.24,189.525)))
bgr_coreandvrefbranch.add(gdstk.Reference(pfet_1, (78.58,189.525)))
bgr_coreandvrefbranch.add(gdstk.Reference(pfet_1, (75.92,189.525)))
bgr_coreandvrefbranch.add(gdstk.Reference(pfet_1, (73.26,189.525)))
bgr_coreandvrefbranch.add(gdstk.Reference(pfet_1, (70.6,189.525)))
bgr_coreandvrefbranch.add(gdstk.Reference(nfet_3, (84.56,167.6), x_reflection=True))
bgr_coreandvrefbranch.add(gdstk.Reference(nfet_3, (66.3,167.6), x_reflection=True))
bgr_coreandvrefbranch.add(gdstk.Reference(nfet_3, (66.3,172.105)))
bgr_coreandvrefbranch.add(gdstk.Reference(nfet, (67.96,172.105)))
bgr_coreandvrefbranch.add(gdstk.Reference(nfet_3, (69.62,172.105)))
bgr_coreandvrefbranch.add(gdstk.Reference(nfet_3, (69.62,167.6), x_reflection=True))
bgr_coreandvrefbranch.add(gdstk.Reference(nfet_3, (71.28,167.6), x_reflection=True))
bgr_coreandvrefbranch.add(gdstk.Reference(pfet_1, (70.6,206.785), x_reflection=True))
bgr_coreandvrefbranch.add(gdstk.Reference(pfet_1, (73.26,206.785), x_reflection=True))
bgr_coreandvrefbranch.add(gdstk.Reference(nfet, (72.94,167.6), x_reflection=True))
bgr_coreandvrefbranch.add(gdstk.Reference(pfet_1, (67.94,206.785), x_reflection=True))
bgr_coreandvrefbranch.add(gdstk.Reference(nfet_3, (71.28,172.105)))
bgr_coreandvrefbranch.add(gdstk.Reference(nfet, (72.94,172.105)))
bgr_coreandvrefbranch.add(gdstk.Reference(nfet, (74.6,167.6), x_reflection=True))
bgr_coreandvrefbranch.add(gdstk.Reference(pnp_bjt, (78.22,139.825)))
bgr_coreandvrefbranch.add(gdstk.Reference(pnp_bjt, (64.02,132.725)))
bgr_coreandvrefbranch.add(gdstk.Reference(pnp_bjt, (64.02,146.925)))
bgr_coreandvrefbranch.add(gdstk.Reference(pnp_bjt, (71.12,139.825)))
bgr_coreandvrefbranch.add(gdstk.Reference(pnp_bjt, (78.22,118.525)))
bgr_coreandvrefbranch.add(gdstk.Reference(pnp_bjt, (78.22,132.725)))
bgr_coreandvrefbranch.add(gdstk.Reference(pnp_bjt, (78.22,125.625)))
bgr_coreandvrefbranch.add(gdstk.Reference(pnp_bjt, (64.02,125.625)))
bgr_coreandvrefbranch.add(gdstk.Reference(pnp_bjt, (71.12,132.725)))
bgr_coreandvrefbranch.add(gdstk.Reference(pnp_bjt, (78.22,146.925)))
bgr_coreandvrefbranch.add(gdstk.Reference(pnp_bjt, (71.12,125.625)))
bgr_coreandvrefbranch.add(gdstk.Reference(pnp_bjt, (71.12,146.925)))
bgr_coreandvrefbranch.add(gdstk.Reference(pnp_bjt, (64.02,139.825)))
bgr_coreandvrefbranch.add(gdstk.Reference(pnp_bjt, (64.02,118.525)))
bgr_coreandvrefbranch.add(gdstk.Reference(pnp_bjt, (71.12,118.525)))
bgr_coreandvrefbranch.add(gdstk.Reference(pnp_bjt, (92.42,118.525)))
bgr_coreandvrefbranch.add(gdstk.Reference(pnp_bjt, (92.42,132.725)))
bgr_coreandvrefbranch.add(gdstk.Reference(guard_ring_gen_5, (106.43,120.395)))
bgr_coreandvrefbranch.add(gdstk.Reference(pfet, (111.14,128.635), rotation=pi))
bgr_coreandvrefbranch.add(gdstk.Reference(pfet, (109.48,128.635), rotation=pi))
bgr_coreandvrefbranch.add(gdstk.Reference(pfet, (109.48,142.93), rotation=pi))
bgr_coreandvrefbranch.add(gdstk.Reference(pfet, (111.14,142.93), rotation=pi))
bgr_coreandvrefbranch.add(gdstk.Reference(pfet, (109.48,129.395), rotation=pi, x_reflection=True))
bgr_coreandvrefbranch.add(gdstk.Reference(pfet, (109.48,157.225), rotation=pi))
bgr_coreandvrefbranch.add(gdstk.Reference(pfet, (111.14,129.395), rotation=pi, x_reflection=True))
bgr_coreandvrefbranch.add(gdstk.Reference(pfet, (111.14,157.225), rotation=pi))
bgr_coreandvrefbranch.add(gdstk.Reference(pfet, (109.48,143.69), rotation=pi, x_reflection=True))
bgr_coreandvrefbranch.add(gdstk.Reference(pfet, (111.14,143.69), rotation=pi, x_reflection=True))
bgr_coreandvrefbranch.add(gdstk.Reference(pnp_bjt, (92.42,125.625)))
bgr_coreandvrefbranch.add(gdstk.Reference(pnp_bjt, (92.42,139.825)))
bgr_coreandvrefbranch.add(gdstk.Reference(pnp_bjt, (92.42,146.925)))

lib.write_gds('BGR_coreAndVrefBranch.gds')
